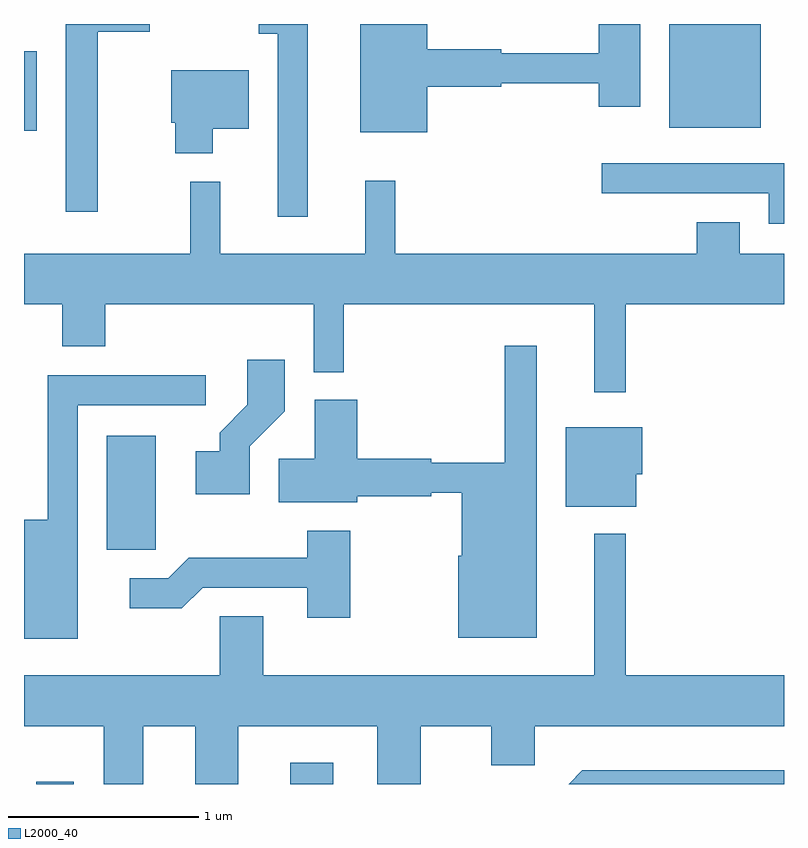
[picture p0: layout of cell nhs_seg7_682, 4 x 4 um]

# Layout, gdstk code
import gdstk
lib = gdstk.Library(unit=1e-6, precision=1e-09)
def R(c, l, rs):  # rectangles x0, y0, x1, y1
    for r in rs: c.add(gdstk.rectangle(r[:2], r[2:], *l))
def P(c, l, *ps):  # polygons
    for p in ps: c.add(gdstk.Polygon(p, *l))
L2000_40 = (2000, 40)

nhs_seg7_682 = lib.new_cell('nhs_seg7_682')
R(nhs_seg7_682, L2000_40, [(205.676,1696.252,205.874,1696.264), (207.011,1696.252,207.239,1696.364), (206.046,1697.486,206.304,1698.084), (205.611,1699.691,205.679,1700.109), (209.006,1699.706,209.489,1700.252)])
P(nhs_seg7_682, L2000_40, [(205.999,1700.211),(206.274,1700.211),(206.274,1700.252),(205.831,1700.252),(205.831,1699.263),(205.999,1699.263)],
  [(207.104,1700.252),(206.846,1700.252),(206.846,1700.201),(206.946,1700.201),(206.946,1699.238),(207.104,1699.238)],
  [(207.734,1699.921),(208.124,1699.921),(208.124,1699.941),(208.636,1699.941),(208.636,1699.816),(208.854,1699.816),(208.854,1700.252),(208.636,1700.252),(208.636,1700.099),(208.124,1700.099),(208.124,1700.119),(207.734,1700.119),(207.734,1700.252),(207.381,1700.252),(207.381,1699.681),(207.734,1699.681)],
  [(206.604,1699.701),(206.794,1699.701),(206.794,1700.009),(206.386,1700.009),(206.386,1699.731),(206.406,1699.731),(206.406,1699.571),(206.604,1699.571)],
  [(209.611,1699.519),(208.653,1699.519),(208.653,1699.361),(209.531,1699.361),(209.531,1699.201),(209.611,1699.201)],
  [(208.779,1698.776),(209.611,1698.776),(209.611,1699.044),(209.379,1699.044),(209.379,1699.209),(209.151,1699.209),(209.151,1699.044),(207.564,1699.044),(207.564,1699.428),(207.406,1699.428),(207.406,1699.044),(206.644,1699.044),(206.644,1699.423),(206.486,1699.423),(206.486,1699.044),(205.611,1699.044),(205.611,1698.776),(205.811,1698.776),(205.811,1698.556),(206.039,1698.556),(206.039,1698.776),(207.136,1698.776),(207.136,1698.418),(207.294,1698.418),(207.294,1698.776),(208.611,1698.776),(208.611,1698.313),(208.779,1698.313)],
  [(208.309,1698.558),(208.141,1698.558),(208.141,1697.944),(207.754,1697.944),(207.754,1697.964),(207.364,1697.964),(207.364,1698.274),(207.141,1698.274),(207.141,1697.964),(206.951,1697.964),(206.951,1697.736),(207.364,1697.736),(207.364,1697.766),(207.754,1697.766),(207.754,1697.786),(207.916,1697.786),(207.916,1697.454),(207.896,1697.454),(207.896,1697.021),(208.309,1697.021)],
  [(206.799,1698.029),(206.984,1698.214),(206.984,1698.484),(206.786,1698.484),(206.786,1698.247),(206.641,1698.102),(206.641,1698.004),(206.516,1698.004),(206.516,1697.776),(206.799,1697.776)],
  [(205.894,1698.246),(206.568,1698.246),(206.568,1698.404),(205.736,1698.404),(205.736,1697.644),(205.611,1697.644),(205.611,1697.016),(205.894,1697.016)],
  [(208.834,1697.881),(208.864,1697.881),(208.864,1698.129),(208.461,1698.129),(208.461,1697.711),(208.834,1697.711)],
  [(207.329,1697.584),(207.101,1697.584),(207.101,1697.444),(206.479,1697.444),(206.369,1697.334),(206.168,1697.334),(206.168,1697.176),(206.442,1697.176),(206.552,1697.286),(207.101,1697.286),(207.101,1697.126),(207.329,1697.126)],
  [(206.239,1696.556),(206.511,1696.556),(206.511,1696.252),(206.739,1696.252),(206.739,1696.556),(207.471,1696.556),(207.471,1696.252),(207.699,1696.252),(207.699,1696.556),(208.071,1696.556),(208.071,1696.351),(208.299,1696.351),(208.299,1696.556),(209.611,1696.556),(209.611,1696.824),(208.779,1696.824),(208.779,1697.568),(208.611,1697.568),(208.611,1696.824),(206.869,1696.824),(206.869,1697.134),(206.641,1697.134),(206.641,1696.824),(205.611,1696.824),(205.611,1696.556),(206.031,1696.556),(206.031,1696.252),(206.239,1696.252)],
  [(209.611,1696.324),(208.549,1696.324),(208.477,1696.252),(209.611,1696.252)])

lib.write_gds('nhs_seg7_682.gds')
